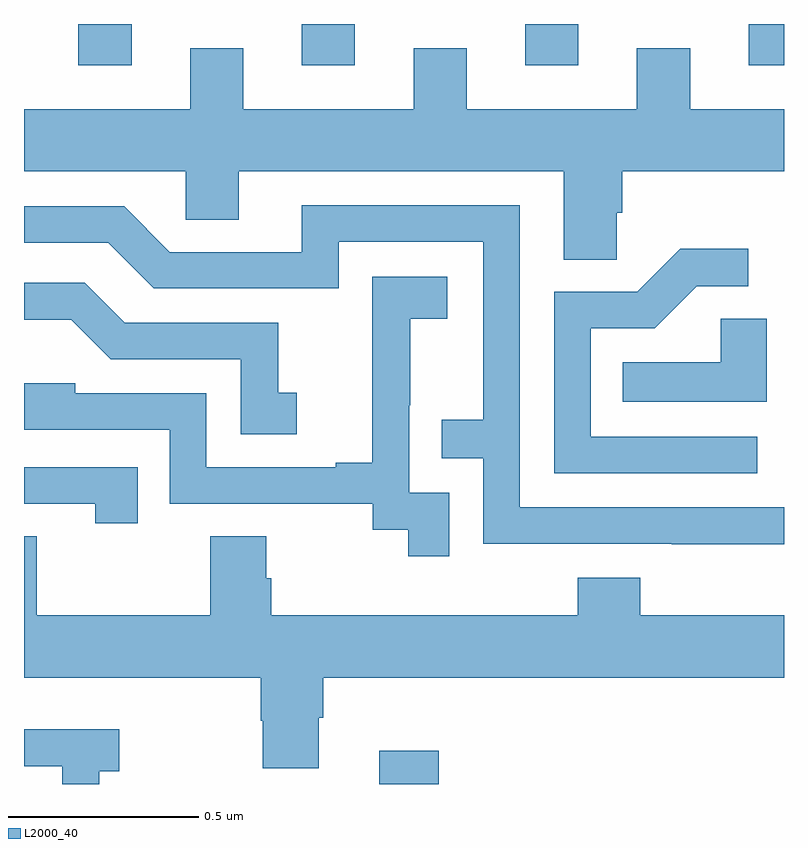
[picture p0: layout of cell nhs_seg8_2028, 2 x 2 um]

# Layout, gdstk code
import gdstk
lib = gdstk.Library(unit=1e-6, precision=1e-09)
def R(c, l, rs):  # rectangles x0, y0, x1, y1
    for r in rs: c.add(gdstk.rectangle(r[:2], r[2:], *l))
def A(c, l, x, y, w, h, nx, ny, dx, dy):  # array of equal rectangles
    R(c, l, [(x+i*dx, y+j*dy, x+i*dx+w, y+j*dy+h) for i in range(nx) for j in range(ny)])
def P(c, l, *ps):  # polygons
    for p in ps: c.add(gdstk.Polygon(p, *l))
L2000_40 = (2000, 40)

nhs_seg8_2028 = lib.new_cell('nhs_seg8_2028')
A(nhs_seg8_2028, L2000_40, 138.143, 1104.792, 0.14, 0.108, 3, 1, 0.588, 0)
R(nhs_seg8_2028, L2000_40, [(138.935,1102.9,139.091,1102.987), (139.907,1104.792,140,1104.9)])
P(nhs_seg8_2028, L2000_40, [(139.56,1104.403),(139.574,1104.403),(139.574,1104.512),(140,1104.512),(140,1104.676),(139.753,1104.676),(139.753,1104.836),(139.613,1104.836),(139.613,1104.676),(139.165,1104.676),(139.165,1104.836),(139.025,1104.836),(139.025,1104.676),(138.577,1104.676),(138.577,1104.836),(138.437,1104.836),(138.437,1104.676),(138,1104.676),(138,1104.512),(138.426,1104.512),(138.426,1104.385),(138.565,1104.385),(138.565,1104.512),(139.421,1104.512),(139.421,1104.28),(139.56,1104.28)],
  [(140,1103.628),(139.305,1103.628),(139.305,1104.423),(138.731,1104.423),(138.731,1104.3),(138.384,1104.3),(138.264,1104.42),(138,1104.42),(138,1104.324),(138.222,1104.324),(138.342,1104.204),(138.828,1104.204),(138.828,1104.327),(139.209,1104.327),(139.209,1103.858),(139.099,1103.858),(139.099,1103.757),(139.209,1103.757),(139.209,1103.532),(139.705,1103.532),(139.705,1103.531),(140,1103.531)],
  [(139.93,1103.814),(139.491,1103.814),(139.491,1104.099),(139.66,1104.099),(139.771,1104.21),(139.906,1104.21),(139.906,1104.308),(139.727,1104.308),(139.614,1104.195),(139.395,1104.195),(139.395,1103.718),(139.93,1103.718)],
  [(139.119,1103.667),(139.014,1103.667),(139.014,1103.897),(139.016,1103.897),(139.016,1104.125),(139.114,1104.125),(139.114,1104.235),(138.916,1104.235),(138.916,1104.029),(138.917,1104.029),(138.917,1103.746),(138.821,1103.746),(138.821,1103.733),(138.48,1103.733),(138.48,1103.928),(138.135,1103.928),(138.135,1103.955),(138,1103.955),(138,1103.832),(138.384,1103.832),(138.384,1103.637),(138.918,1103.637),(138.918,1103.569),(139.011,1103.569),(139.011,1103.499),(139.119,1103.499)],
  [(138.718,1103.929),(138.669,1103.929),(138.669,1104.114),(138.265,1104.114),(138.16,1104.219),(138,1104.219),(138,1104.122),(138.124,1104.122),(138.228,1104.018),(138.57,1104.018),(138.57,1103.82),(138.718,1103.82)],
  [(139.954,1104.125),(139.833,1104.125),(139.833,1104.01),(139.576,1104.01),(139.576,1103.906),(139.954,1103.906)],
  [(138.299,1103.733),(138,1103.733),(138,1103.637),(138.188,1103.637),(138.188,1103.586),(138.299,1103.586)],
  [(138.49,1103.552),(138.49,1103.344),(138.033,1103.344),(138.033,1103.552),(138,1103.552),(138,1103.18),(138.623,1103.18),(138.623,1103.067),(138.628,1103.067),(138.628,1102.942),(138.775,1102.942),(138.775,1103.074),(138.788,1103.074),(138.788,1103.18),(140,1103.18),(140,1103.344),(139.622,1103.344),(139.622,1103.443),(139.457,1103.443),(139.457,1103.344),(138.65,1103.344),(138.65,1103.442),(138.637,1103.442),(138.637,1103.552)],
  [(138.198,1102.934),(138.25,1102.934),(138.25,1103.044),(138,1103.044),(138,1102.947),(138.101,1102.947),(138.101,1102.9),(138.198,1102.9)])

lib.write_gds('nhs_seg8_2028.gds')
